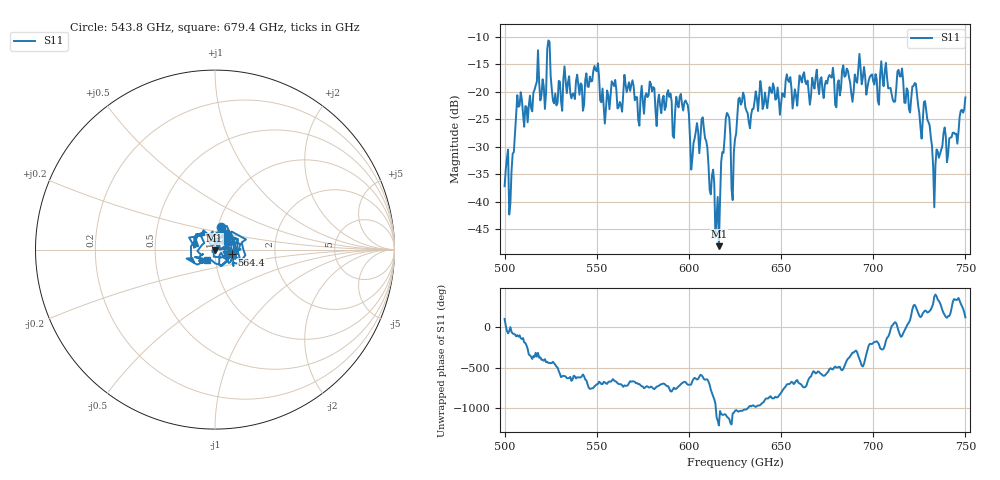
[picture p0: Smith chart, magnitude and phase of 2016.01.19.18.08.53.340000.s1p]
!Created with skrf (http://scikit-rf.org).
# GHz S RI R 50.0
!freq ReS11 ImS11
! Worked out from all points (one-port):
!   401 points, 500 GHz to 750 GHz, reference 50 ohm
!   lowest |S11| = -48.0 dB at 616.2 GHz (marker M1), VSWR 1.01, Z = 49.7 - j0.301 ohm
!   |S11| at or under -10 dB: start of sweep to end of sweep
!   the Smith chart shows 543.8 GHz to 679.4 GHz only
!   S11 on the Smith chart (normalised r, x): 543.8 GHz: 1.04, +0.26; 564.4 GHz: 1.20, -0.07; 679.4 GHz: 0.91, -0.11
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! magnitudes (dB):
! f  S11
! 500 GHz  -37.1
! 503.8 GHz  -34.4
! 508.1 GHz  -22.5
! 520.6 GHz  -17.7
! 524.4 GHz  -10.9
! 526.9 GHz  -22.1
! 531.2 GHz  -23.4
! 543.8 GHz  -17.8
! 549.4 GHz  -16.1
! 553.1 GHz  -19.4
! 562.5 GHz  -21.8
! 564.4 GHz  -20.2
! 593.8 GHz  -22.2
! 598.8 GHz  -22.0
! 601.9 GHz  -32.1
! 608.1 GHz  -26.7
! 616.2 GHz  -48.0
! 620.6 GHz  -23.8
! 625 GHz  -28.6
! 628.1 GHz  -22.3
! 656.2 GHz  -23.0
! 679.4 GHz  -22.4
! 687.5 GHz  -18.4
! 714.4 GHz  -17.2
! 718.8 GHz  -19.8
! 728.8 GHz  -23.3
! 733.8 GHz  -33.2
! 750 GHz  -21.0
